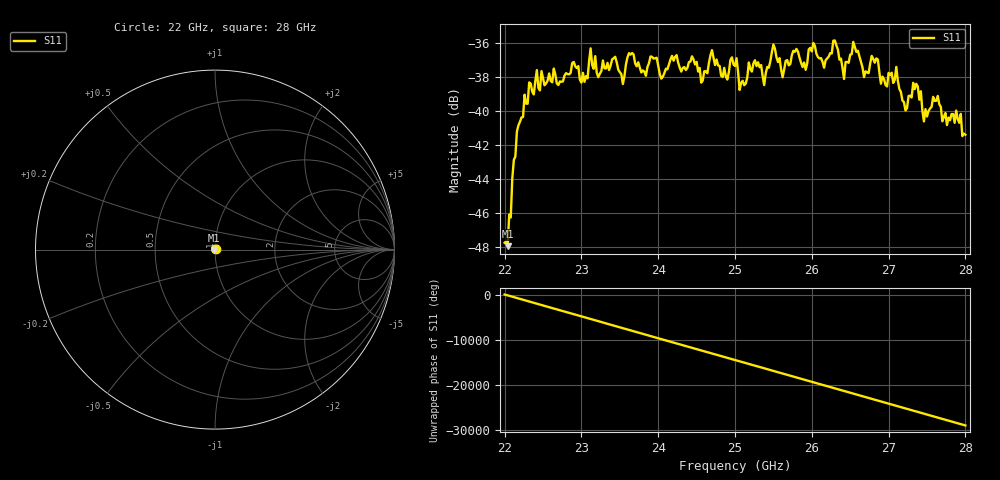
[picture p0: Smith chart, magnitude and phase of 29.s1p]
#  HZ  S  RI  R  50.00
! Rohde & Schwarz ZVA40 4Ports - Version 3.90 - 1145.1110k42 SN: 100403
! Date: 2023-10-04 10:33:04
! Measurement: S12
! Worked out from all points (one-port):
!   301 points, 22 GHz to 28 GHz, reference 50 ohm
!   lowest |S11| = -48.0 dB at 22.04 GHz (marker M1), VSWR 1.01, Z = 49.6 - j0.135 ohm
!   |S11| at or under -10 dB: start of sweep to end of sweep
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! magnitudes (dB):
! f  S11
! 22 GHz  -47.8
! 22.04 GHz  -48.0
! 22.16 GHz  -41.2
! 22.26 GHz  -39.0
! 22.42 GHz  -37.6
! 22.76 GHz  -38.2
! 23.08 GHz  -38.1
! 23.12 GHz  -36.3
! 23.22 GHz  -38.0
! 23.5 GHz  -37.7
! 24.26 GHz  -37.1
! 25 GHz  -37.3
! 25.06 GHz  -38.7
! 25.26 GHz  -37.0
! 25.38 GHz  -38.5
! 25.5 GHz  -36.1
! 25.62 GHz  -38.0
! 25.76 GHz  -36.4
! 26.16 GHz  -37.4
! 26.3 GHz  -35.8
! 26.42 GHz  -38.1
! 26.5 GHz  -36.7
! 26.98 GHz  -38.5
! 27.1 GHz  -37.4
! 27.22 GHz  -40.0
! 27.26 GHz  -39.1
! 27.64 GHz  -39.1
! 28 GHz  -41.4
